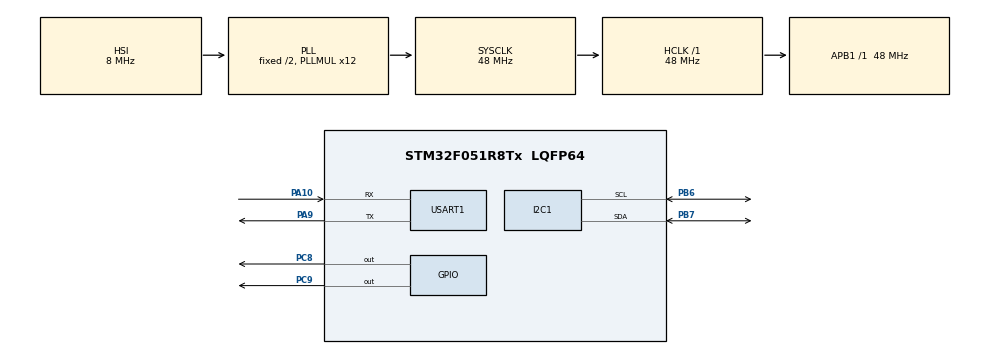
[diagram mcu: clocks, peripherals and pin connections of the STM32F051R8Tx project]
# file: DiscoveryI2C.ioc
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Mcu.Family=STM32F0
Mcu.Name=STM32F051R8Tx
Mcu.Package=LQFP64
NVIC.I2C1_IRQn=true\:0\:0\:false\:false\:true\:true
NVIC.TIM2_IRQn=true\:0\:0\:false\:false\:true\:true
NVIC.USART1_IRQn=true\:0\:0\:false\:false\:true\:true
PA10.Mode=Asynchronous
PA10.Signal=USART1_RX
PA13.Mode=Serial_Wire
PA13.Signal=SYS_SWDIO
PA14.Mode=Serial_Wire
PA14.Signal=SYS_SWCLK
PA9.Mode=Asynchronous
PA9.Signal=USART1_TX
PB6.Mode=I2C
PB6.Signal=I2C1_SCL
PB7.Mode=I2C
PB7.Signal=I2C1_SDA
PC8.Signal=GPIO_Output
PC9.Signal=GPIO_Output
PF0-OSC_IN.Mode=HSE-External-Oscillator
PF0-OSC_IN.Signal=RCC_OSC_IN
PF1-OSC_OUT.Mode=HSE-External-Oscillator
PF1-OSC_OUT.Signal=RCC_OSC_OUT
ProjectManager.HeapSize=0x200
ProjectManager.StackSize=0x400
ProjectManager.TargetToolchain=TrueSTUDIO
RCC.AHBFreq_Value=48000000
RCC.APB1Freq_Value=48000000
RCC.APB1TimFreq_Value=48000000
RCC.HCLKFreq_Value=48000000
RCC.PLLMUL=RCC_PLL_MUL12
RCC.SYSCLKFreq_VALUE=48000000
RCC.SYSCLKSource=RCC_SYSCLKSOURCE_PLLCLK
TIM2.Period=800
TIM2.Prescaler=35999
USART1.VirtualMode-Asynchronous=VM_ASYNC
VP_TIM2_VS_ClockSourceINT.Mode=Internal
board=custom

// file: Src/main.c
/**
  ******************************************************************************
  * @file           : main.c
  * @brief          : Main program body
  ******************************************************************************
  ** This notice applies to any and all portions of this file
  * that are not between comment pairs USER CODE BEGIN and
  * USER CODE END. Other portions of this file, whether
  * inserted by the user or by software development tools
  * are owned by their respective copyright owners.
  *
  * COPYRIGHT(c) 2018 STMicroelectronics
  *
  * Redistribution and use in source and binary forms, with or without modification,
  * are permitted provided that the following conditions are met:
  *   1. Redistributions of source code must retain the above copyright notice,
  *      this list of conditions and the following disclaimer.
  *   2. Redistributions in binary form must reproduce the above copyright notice,
  *      this list of conditions and the following disclaimer in the documentation
  *      and/or other materials provided with the distribution.
  *   3. Neither the name of STMicroelectronics nor the names of its contributors
  *      may be used to endorse or promote products derived from this software
  *      without specific prior written permission.
  *
  * THIS SOFTWARE IS PROVIDED BY THE COPYRIGHT HOLDERS AND CONTRIBUTORS "AS IS"
  * AND ANY EXPRESS OR IMPLIED WARRANTIES, INCLUDING, BUT NOT LIMITED TO, THE
  * IMPLIED WARRANTIES OF MERCHANTABILITY AND FITNESS FOR A PARTICULAR PURPOSE ARE
  * DISCLAIMED. IN NO EVENT SHALL THE COPYRIGHT HOLDER OR CONTRIBUTORS BE LIABLE
  * FOR ANY DIRECT, INDIRECT, INCIDENTAL, SPECIAL, EXEMPLARY, OR CONSEQUENTIAL
  * DAMAGES (INCLUDING, BUT NOT LIMITED TO, PROCUREMENT OF SUBSTITUTE GOODS OR
  * SERVICES; LOSS OF USE, DATA, OR PROFITS; OR BUSINESS INTERRUPTION) HOWEVER
  * CAUSED AND ON ANY THEORY OF LIABILITY, WHETHER IN CONTRACT, STRICT LIABILITY,
  * OR TORT (INCLUDING NEGLIGENCE OR OTHERWISE) ARISING IN ANY WAY OUT OF THE USE
  * OF THIS SOFTWARE, EVEN IF ADVISED OF THE POSSIBILITY OF SUCH DAMAGE.
  *
  ******************************************************************************
  */
#include "main.h"
#include "stm32f0xx_hal.h"
#include "tm_stm32_i2c.h"
#include "tm_stm32_mpu6050.h"
#include "i2c.h"
#include "tim.h"
#include "usart.h"
#include "gpio.h"
#include "stdio.h"
#include <math.h>
#include<string.h>
#include <stdbool.h>

	uint8_t device_address = 0xD0;
	uint8_t register_address=0x3B;
	uint8_t Data[14];
	char bufer[150];
	uint16_t paket_id;
	float AX,AY,AZ,T,GX,GY,GZ;
	float XAxisFinal,YAxisFinal,ZAxisFinal,XGyroFinal,YGyroFinal,ZGyroFinal;
	float delta_angle_x,delta_angle_y,pitch,roll,yaw,real_angle = 0,prev_angle = 0;
	float ang_x,ang_y,ang_z,Gangle_x,Gangle_y;
	int AX_offset = 0,AY_offset = 0,AZ_offset = 1700;
	float old_x = 0,old_y = 0,prev_angle_x = 0,prev_angle_y = 0;
	int GX_offset = 520,GY_offset = 0,GZ_offset = 0;
	float XAxis_kalman,YAxis_kalman,ZAxis_kalman,XGyro_kalman,YGyro_kalman,ZGyro_kalman;
	float kalman_old = 0,cov_old = 1,kalman_new,cov_new,avg,val1, val2, val3, val4, val5 ;
	int med,m,med_sort[5],c_avg = 1, c_med = 1, d = 0, med1_sort, med2_sort, med3_sort, med4_sort;
	TM_MPU6050_t MPU6050_Sensor;

	typedef union {
	    float f;         // Assigning fVal.f will also populate fVal.bytes;
	    char bytes[4];   // Both fVal.f and fVal.bytes share the same 4 bytes of memory.
	} fVal;
	char packed[44];   // Some arbitrary message, note the size.
	fVal packedFloatGX,packedFloatGY,packedFloatGZ,packedFloatAX,packedFloatAY,packedFloatAZ,packedFloatT,packedFloatRoll,packedFloatPitch,packedFloatYaw;
	float unpacked;

/* USER CODE BEGIN PV */
/* Private variables ---------------------------------------------------------*/
	I2C_HandleTypeDef hi2c1;
		TIM_HandleTypeDef htim2;
/* USER CODE END PV */
		/* Private function prototypes -----------------------------------------------*/
void SystemClock_Config(void);
void read_MPU6050_data();
void read_Accolemetre();
void read_Gyroscope();
float mov_avg (int counter, float input);
float kalman_filter (float input);
float median (int counter, int input);
void sort(int a[], int size);
/* USER CODE BEGIN PFP */
/* Private function prototypes -----------------------------------------------*/

/* USER CODE END PFP */

int main(void)
{

  /* MCU Configuration----------------------------------------------------------*/

  /* Reset of all peripherals, Initializes the Flash interface and the Systick. */
  HAL_Init();

  /* Configure the system clock */
  SystemClock_Config();

  /* Initialize all configured peripherals */
  MX_GPIO_Init();
  MX_I2C1_Init();
  MX_USART1_UART_Init();
  MX_TIM2_Init();
  __HAL_UART_ENABLE_IT(&huart1,UART_IT_TC);
  /* USER CODE BEGIN 2 */
  	HAL_TIM_Base_Start_IT(&htim2);
    TM_MPU6050_Init(&MPU6050_Sensor, TM_MPU6050_Device_0, TM_MPU6050_Accelerometer_2G, TM_MPU6050_Gyroscope_250s);
    HAL_I2C_IsDeviceReady(&hi2c1,device_address,1,1000);
  /* USER CODE END 2 */
  /* Infinite loop */
  /* USER CODE BEGIN WHILE */

  while (1)
  {

  }
  /* USER CODE END 3 */
}

void SystemClock_Config(void)
{

  RCC_OscInitTypeDef RCC_OscInitStruct;
  RCC_ClkInitTypeDef RCC_ClkInitStruct;
  RCC_PeriphCLKInitTypeDef PeriphClkInit;

    /**Initializes the CPU, AHB and APB busses clocks
    */
  RCC_OscInitStruct.OscillatorType = RCC_OSCILLATORTYPE_HSI;
  RCC_OscInitStruct.HSIState = RCC_HSI_ON;
  RCC_OscInitStruct.HSICalibrationValue = 16;
  RCC_OscInitStruct.PLL.PLLState = RCC_PLL_ON;
  RCC_OscInitStruct.PLL.PLLSource = RCC_PLLSOURCE_HSI;
  RCC_OscInitStruct.PLL.PLLMUL = RCC_PLL_MUL12;
  RCC_OscInitStruct.PLL.PREDIV = RCC_PREDIV_DIV1;
  if (HAL_RCC_OscConfig(&RCC_OscInitStruct) != HAL_OK)
  {
    _Error_Handler(__FILE__, __LINE__);
  }

    /**Initializes the CPU, AHB and APB busses clocks
    */
  RCC_ClkInitStruct.ClockType = RCC_CLOCKTYPE_HCLK|RCC_CLOCKTYPE_SYSCLK
                              |RCC_CLOCKTYPE_PCLK1;
  RCC_ClkInitStruct.SYSCLKSource = RCC_SYSCLKSOURCE_PLLCLK;
  RCC_ClkInitStruct.AHBCLKDivider = RCC_SYSCLK_DIV1;
  RCC_ClkInitStruct.APB1CLKDivider = RCC_HCLK_DIV1;

  if (HAL_RCC_ClockConfig(&RCC_ClkInitStruct, FLASH_LATENCY_1) != HAL_OK)
  {
    _Error_Handler(__FILE__, __LINE__);
  }

  PeriphClkInit.PeriphClockSelection = RCC_PERIPHCLK_USART1|RCC_PERIPHCLK_I2C1;
  PeriphClkInit.Usart1ClockSelection = RCC_USART1CLKSOURCE_PCLK1;
  PeriphClkInit.I2c1ClockSelection = RCC_I2C1CLKSOURCE_HSI;
  if (HAL_RCCEx_PeriphCLKConfig(&PeriphClkInit) != HAL_OK)
  {
    _Error_Handler(__FILE__, __LINE__);
  }

    /**Configure the Systick interrupt time
    */
  HAL_SYSTICK_Config(HAL_RCC_GetHCLKFreq()/1000);

    /**Configure the Systick
    */
  HAL_SYSTICK_CLKSourceConfig(SYSTICK_CLKSOURCE_HCLK);

  /* SysTick_IRQn interrupt configuration */
  HAL_NVIC_SetPriority(SysTick_IRQn, 0, 0);
}
// Read bytes off serial connection
		  // Overite bytes of union with float variable
/* USER CODE BEGIN 4 */
	void HAL_TIM_PeriodElapsedCallback(TIM_HandleTypeDef *htim)
	{

		if(htim->Instance == TIM2)
		{
			c_avg = c_avg + 1;
			    c_med = c_med + 1;

			    if (c_avg > 5 && c_med > 5)
			    {
			      c_avg = 6;
			      c_med = 6;
			    }
			read_MPU6050_data();
			read_Accolemetre();
			read_Gyroscope();
			pitch = 180 * atan (XAxisFinal/sqrt(YAxisFinal*YAxisFinal + ZAxisFinal*ZAxisFinal))/M_PI;
			roll = 180 * atan (YAxisFinal/sqrt(XAxisFinal*XAxisFinal + ZAxisFinal*ZAxisFinal))/M_PI;
			yaw = 180 * atan (ZAxisFinal/sqrt(XAxisFinal*XAxisFinal + ZAxisFinal*ZAxisFinal))/M_PI;

			paket_id++;
			packed[0]=0x53;
			packed[1]=paket_id;
			packed[2]=0x12;
			packedFloatGX.f = XGyro_kalman;
			packed[3] = packedFloatGX.bytes[0];
			packed[4] = packedFloatGX.bytes[1];
			packed[5] = packedFloatGX.bytes[2];
			packed[6] = packedFloatGX.bytes[3];

			packedFloatGY.f = YGyro_kalman;
			packed[7] = packedFloatGY.bytes[0];
			packed[8] = packedFloatGY.bytes[1];
			packed[9] = packedFloatGY.bytes[2];
			packed[10] = packedFloatGY.bytes[3];

			packedFloatGZ.f = ZGyro_kalman;
			packed[11] = packedFloatGZ.bytes[0];
			packed[12] = packedFloatGZ.bytes[1];
			packed[13] = packedFloatGZ.bytes[2];
			packed[14] = packedFloatGZ.bytes[3];

			packedFloatAX.f = XAxis_kalman;
			packed[15] = packedFloatAX.bytes[0];
			packed[16] = packedFloatAX.bytes[1];
			packed[17] = packedFloatAX.bytes[2];
			packed[18] = packedFloatAX.bytes[3];

			packedFloatAY.f = YAxis_kalman;
			packed[19] = packedFloatAY.bytes[0];
			packed[20] = packedFloatAY.bytes[1];
			packed[21] = packedFloatAY.bytes[2];
			packed[22] = packedFloatAY.bytes[3];

			packedFloatAZ.f = ZAxis_kalman;
			packed[23] = packedFloatAZ.bytes[0];
			packed[24] = packedFloatAZ.bytes[1];
			packed[25] = packedFloatAZ.bytes[2];
			packed[26] = packedFloatAZ.bytes[3];

			packedFloatT.f = T;
			packed[27] = packedFloatT.bytes[0];
			packed[28] = packedFloatT.bytes[1];
			packed[29] = packedFloatT.bytes[2];
			packed[30] = packedFloatT.bytes[3];

			packedFloatPitch.f = pitch;
			packed[31] = packedFloatPitch.bytes[0];
			packed[32] = packedFloatPitch.bytes[1];
			packed[33] = packedFloatPitch.bytes[2];
			packed[34] = packedFloatPitch.bytes[3];

			packedFloatYaw.f = yaw;
			packed[35] = packedFloatYaw.bytes[0];
			packed[36] = packedFloatYaw.bytes[1];
			packed[37] = packedFloatYaw.bytes[2];
			packed[38] = packedFloatYaw.bytes[3];

			packedFloatRoll.f = roll;
			packed[39] = packedFloatRoll.bytes[0];
			packed[40] = packedFloatRoll.bytes[1];
			packed[41] = packedFloatRoll.bytes[2];
			packed[42] = packedFloatRoll.bytes[3];
			packed[43]=0x45;

			HAL_UART_Transmit_IT(&huart1, (uint8_t*)packed,sizeof(packed));

			HAL_GPIO_TogglePin(GPIOC,GPIO_PIN_9);
		}
	}
/* USER CODE END 4 */
	float mov_avg (int counter, float input)
	{
	  avg = 0;
	  m = 0;

	  if (counter == 1) {
	    val1 = input;
	    avg = val1;

	  }
	  else if (counter == 2) {
	    val2 = input;
	    avg = val2;

	  }
	  else if (counter == 3) {
	    val3 = input;
	    avg = val3;

	  }
	  else if (counter == 4) {
	    val4 = input;
	    avg = val4;

	  }
	  else if (counter == 5) {
	    val5 = input;
	    avg = val5;

	  }
	  else if (counter > 5 ) {

	    counter = 6;

	    if (val1 == 0) {
	      m = m + 1;
	    }
	    if (val2 == 0) {
	      m = m + 1;
	    }
	    if (val3 == 0) {
	      m = m + 1;
	    }
	    if (val4 == 0) {
	      m = m + 1;
	    }
	    if (val5 == 0) {
	      m = m + 1;
	    }
	    if (input == 0) {
	      m = m + 1;
	    }

	    d = 6 - m;

	    if (d == 0)
	    {
	      avg = input;
	      counter = 1;
	    }
	    else
	    {
	      avg = (val1 + val2 + val3 + val4 + val5 + input) / d;
	    }

	    val1 = val2;
	    val2 = val3;
	    val3 = val4;
	    val4 = val5;
	    val5 = input;
	  }

	  return avg;
	}

	float median (int counter, int input)
	{
	  if (counter == 1) {
	    med1_sort = input;
	    med_sort[0] = med1_sort;

	  }
	  else if (counter == 2) {
	    med2_sort = input;
	    med_sort[1] = med2_sort;

	  }
	  else if (counter == 3) {
	    med3_sort = input;
	    med_sort[2] = med3_sort;

	  }
	  else if (counter == 4) {
	    med4_sort = input;
	    med_sort[3] = med4_sort;

	  }

	  else if (counter >= 5) {

	    counter = 6;

	    med_sort[4] = input;

	    sort(med_sort, 5);

	    med = med_sort[2];

	    med1_sort = med2_sort;
	    med2_sort = med3_sort;
	    med3_sort = med4_sort;
	    med4_sort = input;

	    med_sort[0] = med1_sort;
	    med_sort[1] = med2_sort;
	    med_sort[2] = med3_sort;
	    med_sort[3] = med4_sort;

	  }
	  return med;
	}

	void sort(int a[], int size) {
	  for (int i = 0; i < (size - 1); i++) {
	    for (int o = 0; o < (size - (i + 1)); o++) {
	      if (a[o] > a[o + 1]) {
	        int t = a[o];
	        a[o] = a[o + 1];
	        a[o + 1] = t;
	      }
	    }
	  }
	}
	float kalman_filter (float input)
	{

	   kalman_new = kalman_old;
	  cov_new = cov_old + 0.50;

	  float kalman_gain = cov_new / (cov_new + 0.9);
	  float kalman_calculated = kalman_new + (kalman_gain * (input - kalman_new));

	  cov_new = (1 - kalman_gain) * cov_old;
	  cov_old = cov_new;

	  kalman_old = kalman_calculated;

	  return kalman_calculated;

	}
	void read_MPU6050_data()
	{

		HAL_I2C_Master_Transmit(&hi2c1,device_address,&register_address,1,1000);

		HAL_I2C_Master_Receive(&hi2c1,device_address,Data,14,1000);

		AX=(float)(((int16_t)(Data[0]<<8 | Data[1]))+AX_offset);
		AY=(float)(((int16_t)(Data[2]<<8 | Data[3]))+AY_offset);
		AZ=(float)(((int16_t)(Data[4]<<8 | Data[5]))+AZ_offset);
		T=(float)(((int16_t)(Data[6]<<8 | Data[7]))/(float)340+(float)35);
		GX=(float)(((int16_t)(Data[8]<<8 | Data[9]))+GX_offset);
		GY=(float)(((int16_t)(Data[10]<<8 | Data[11]))+GY_offset);
		GZ=(float)(((int16_t)(Data[12]<<8 | Data[13]))+GZ_offset);
	}

	void read_Accolemetre()
	{
		XAxisFinal = (float) AX / 16384.0;
		YAxisFinal = (float) AY / 16384.0;
		ZAxisFinal = (float) AZ / 16384.0;

		XAxis_kalman = kalman_filter(XAxisFinal);
		YAxis_kalman = kalman_filter(YAxisFinal);
		ZAxis_kalman = kalman_filter(ZAxisFinal);

		if(XAxis_kalman>0.99) XAxis_kalman=1;   //0.99 olan deðerler 1'e tamamlanýr.
		if(YAxis_kalman>0.99) YAxis_kalman=1;
		if(ZAxis_kalman>0.99) ZAxis_kalman=1;

		if(XAxis_kalman<-0.99) XAxis_kalman=-1; //-0.99 olan deðerler 1'e tamamlanýr.
		if(YAxis_kalman<-0.99) YAxis_kalman=-1;
		if(ZAxis_kalman<-0.99) ZAxis_kalman=-1;

		ang_x = atan(AY/(sqrt(pow(AX,2)+pow(AZ,2)))) * 57296 / 1000; //Euler Açý formülüne göre açý hesabý. (X-Ekseni)
		ang_y = atan(AY/(sqrt(pow(AX,2)+pow(AZ,2)))) * 57296 / 1000;
	}

	void read_Gyroscope()
	{
		XGyroFinal = (float)GX / 131;                         //Datasheet'te yazan deðerlere göre "deg/s" cinsinden açýsal hýz bulunur. (X ekseni için)
		YGyroFinal = (float)GY / 131;                         //Datasheet'te yazan deðerlere göre "deg/s" cinsinden açýsal hýz bulunur. (Y ekseni için)
		ZGyroFinal = (float)GZ / 131;

		XGyro_kalman = kalman_filter(XGyroFinal);
		YGyro_kalman = kalman_filter(YGyroFinal);
		ZGyro_kalman = kalman_filter(ZGyroFinal);

		delta_angle_x = (0.03 * old_x) + ((0.03 * (XGyro_kalman - old_x)) / 2); //açýsal hýz ve geçen süreye baðlý olarak taranan açý hesaplanýr
		Gangle_x = (prev_angle_x + delta_angle_x);                             //taranan açý deðeri ile bir önceki açý deðeri hesaplanarak
		prev_angle_x = Gangle_x;                                                     //güncel açý deðeri bir sonraki döngüde kullanýlmak üzere önceki açý deðeri olarak kaydedilir
		old_x = XGyro_kalman;

		delta_angle_y = (0.03 * old_y) + ((0.03 * (YGyro_kalman - old_y)) / 2); //yukarýdaki iþlemlerin aynýsý Y ekseni için de yapýlýr
		Gangle_y = (prev_angle_y + delta_angle_y);
		prev_angle_y = Gangle_y;
		old_y = YGyro_kalman;

	}

void _Error_Handler(char *file, int line)
{
  while(1)
  {
  }
}

/************************ (C) COPYRIGHT STMicroelectronics *****END OF FILE****/
